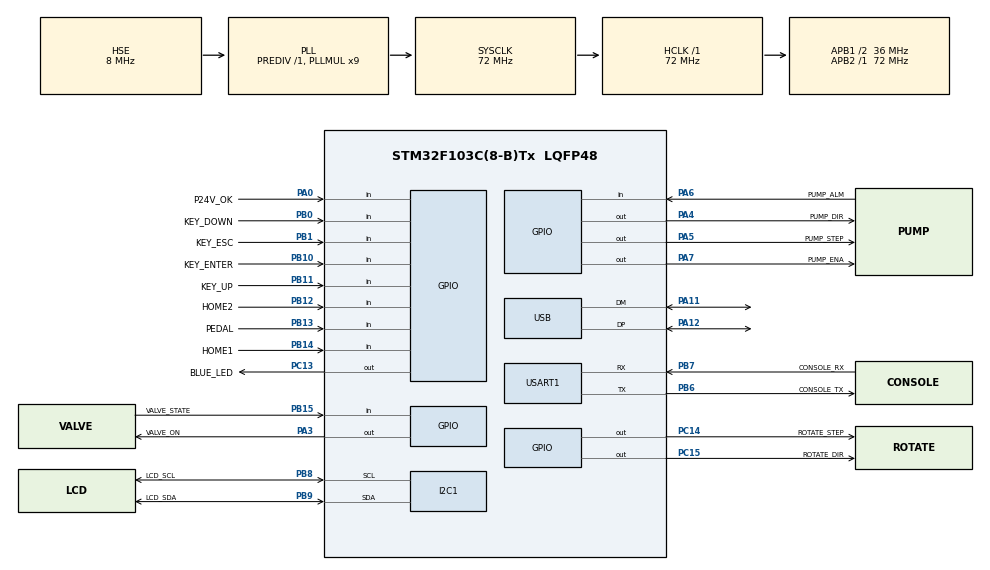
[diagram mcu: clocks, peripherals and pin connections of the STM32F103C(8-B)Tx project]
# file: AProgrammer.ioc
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Mcu.Family=STM32F1
USB_DEVICE.CLASS_NAME_FS=CDC
NVIC.I2C1_EV_IRQn=true\:1\:0\:true\:false\:true\:true\:true
PB10.GPIO_PuPd=GPIO_PULLUP
PB14.GPIO_Label=HOME1
PA11.Mode=Device
PA6.GPIO_Label=PUMP_ALM
PB0.GPIO_Label=KEY_DOWN
PB6.GPIO_Label=CONSOLE_TX
PB11.GPIO_PuPd=GPIO_PULLUP
PB13.GPIO_Label=PEDAL
PB11.Signal=GPIO_Input
PB13.Signal=GPIO_Input
PB15.Signal=GPIO_Input
PC15-OSC32_OUT.GPIO_Label=ROTATE_DIR
RCC.SYSCLKSource=RCC_SYSCLKSOURCE_PLLCLK
ProjectManager.StackSize=0x400
PD1-OSC_OUT.Signal=RCC_OSC_OUT
USB_DEVICE.MANUFACTURER_STRING=AProgrammer
PA12.Signal=USB_DP
USART1.StopBits=STOPBITS_1
PB1.GPIO_PuPd=GPIO_PULLUP
RCC.HCLKFreq_Value=72000000
RCC.APB2TimFreq_Value=72000000
PB6.Signal=USART1_TX
PB6.Mode=Asynchronous
RCC.AHBFreq_Value=72000000
RCC.PLLMUL=RCC_PLL_MUL9
PB12.GPIO_Label=HOME2
PA6.GPIO_PuPd=GPIO_PULLUP
PA14.Mode=Serial_Wire
PB1.GPIO_Label=KEY_ESC
PB7.Signal=USART1_RX
NVIC.I2C1_ER_IRQn=true\:1\:0\:true\:false\:true\:true\:true
PB7.GPIO_Label=CONSOLE_RX
Mcu.Package=LQFP48
PB9.Signal=I2C1_SDA
PB14.GPIO_PuPd=GPIO_PULLUP
PB1.Signal=GPIO_Input
PA6.Signal=GPIO_Input
RCC.APB1TimFreq_Value=72000000
PC14-OSC32_IN.GPIO_Label=ROTATE_STEP
NVIC.USART1_IRQn=true\:1\:0\:true\:false\:true\:true\:true
PA4.GPIO_Label=PUMP_DIR
PA3.Signal=GPIO_Output
RCC.PLLSourceVirtual=RCC_PLLSOURCE_HSE
PD1-OSC_OUT.Mode=HSE-External-Oscillator
PB9.GPIO_Label=LCD_SDA
USB_DEVICE.VirtualModeFS=Cdc_FS
PB11.GPIO_Label=KEY_UP
PC13-TAMPER-RTC.Signal=GPIO_Output
RCC.USBPrescaler=RCC_USBCLKSOURCE_PLL_DIV1_5
PD0-OSC_IN.Signal=RCC_OSC_IN
RCC.APB1CLKDivider=RCC_HCLK_DIV2
PC14-OSC32_IN.Signal=GPIO_Output
PA0-WKUP.GPIO_Label=P24V_OK
PA0-WKUP.Signal=GPIO_Input
PA13.Signal=SYS_JTMS-SWDIO
PB8.GPIO_Label=LCD_SCL
ProjectManager.TargetToolchain=STM32CubeIDE
PB10.GPIO_Label=KEY_ENTER
VP_USB_DEVICE_VS_USB_DEVICE_CDC_FS.Mode=CDC_FS
PB9.Mode=I2C
RCC.USBFreq_Value=48000000
PC15-OSC32_OUT.Signal=GPIO_Output
PD0-OSC_IN.Mode=HSE-External-Oscillator
PB10.Signal=GPIO_Input
PB14.Signal=GPIO_Input
PA5.Signal=GPIO_Output
board=custom
PC13-TAMPER-RTC.GPIO_Label=BLUE_LED
PB13.GPIO_PuPd=GPIO_PULLUP
RCC.APB2Freq_Value=72000000
PB15.GPIO_Label=VALVE_STATE
NVIC.USB_LP_CAN1_RX0_IRQn=true\:0\:0\:false\:false\:true\:false\:true
PA13.Mode=Serial_Wire
Mcu.Name=STM32F103C(8-B)Tx
PA4.Signal=GPIO_Output
RCC.SYSCLKFreq_VALUE=72000000
PA7.GPIO_Label=PUMP_ENA
PA12.Mode=Device
PA5.GPIO_Label=PUMP_STEP
USART1.VirtualMode=VM_ASYNC
PB7.Mode=Asynchronous
PA11.Signal=USB_DM
PA14.Signal=SYS_JTCK-SWCLK
ProjectManager.HeapSize=0x200
NVIC.PriorityGroup=NVIC_PRIORITYGROUP_4
PB8.Mode=I2C
PB8.Signal=I2C1_SCL
PB12.GPIO_PuPd=GPIO_PULLUP
RCC.APB1Freq_Value=36000000
PB0.Signal=GPIO_Input
USB_DEVICE.VirtualMode=Cdc
PB12.Signal=GPIO_Input
PB0.GPIO_PuPd=GPIO_PULLUP
PA3.GPIO_Label=VALVE_ON
PA7.Signal=GPIO_Output

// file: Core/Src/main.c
/* USER CODE BEGIN Header */
/* USER CODE END Header */
#include "main.h"
#include "i2c.h"
#include "usart.h"
#include "usb_device.h"
#include "gpio.h"

/* USER CODE BEGIN Includes */
#include "inc.h"
/* USER CODE END Includes */

/* USER CODE BEGIN PV */
typedef enum {
	CMD_IDLE,
	CMD_GO_HOME,
	CMD_UPDATE_ROTATE_TURNS,
	CMD_MOVE_WITH_ARROWS,
	CMD_START_DOZING,
} USER_CMD_TypeDef;

volatile USER_CMD_TypeDef user_cmd;

#define MOVES_COUNT 5 /* should not be greater than 9 (one digit only) */

int pump_feed [MOVES_COUNT] = { 175,  100, -250 };
int pump_speed[MOVES_COUNT] = { 100,   28,  200 };
int pump_delay[MOVES_COUNT] = {   0,    0,    0 };

int pump_max_length = 30000;
__IO int pump_direction  = 0;
__IO int pump_cmd_timeout;
int pump_manual_speed; // in 0,01mm/sec
int pump_home_speed = 200;
int valve_delay = 1000;

#define PMS_SET_COUNT 2
int pump_manual_speed_set[PMS_SET_COUNT] = { 100, 600 };
int cur_pump_manual_speed = 0;

int rotate_step      =  6; // in turns
int rotate_speed     = 60; // in turns/minute (RPM)
int rotate_turns     =  -1; // in turns
int rotate_direction =  0; // 0 - forward, 1 - reverse

int screen_to_refresh = 0;
int lcd_to_refresh = 0;

int syringe_diam = 20; // in mm

#define SETTINGS_ITEMS_COUNT (sizeof(sett_item) / sizeof(sett_item[0]))

int settings_level   = 0;
int settings_item    = 0;
int settings_changed = 0;

typedef struct {
	char * caption;
	char * unit;
	int *  value;
	int    min;
	int    max;
	int    step;

} SETTINGS_ITEM_Typedef;

const SETTINGS_ITEM_Typedef sett_item[] = {
		// caption        unit       pointer            min  max step
		{ "Syr.diameter", "mm",       &syringe_diam,       1,   100,   1 },
		{ "P.man.speed",  ".01mm/s",  &pump_manual_speed, 10,  2000,  10 },
		{ "P.home speed", ".01mm/s",  &pump_home_speed,   10,  2000,  10 },
};

typedef enum {
	VW_DOZING = 0,
	VW_MANUAL,
	VW_CHANGE,
	VW_SETTINGS,
	VW_LAST
} SCREEN_VIEW_TypeDef;

__IO SCREEN_VIEW_TypeDef screen_view = VW_DOZING;

int tick_10ms = 0;
/* USER CODE END PV */

void SystemClock_Config(void);

/* USER CODE BEGIN 0 */
#include "main_keys.c"
#include "main_console.c"
#include "main_cnc.c"
#include "main_lcd.c"
#include "main_loop.c"

void Setup() {
	Init_CNC();
	Init_Console();
	Init_Keys();
	Init_LCD();

	pump_manual_speed = pump_manual_speed_set[cur_pump_manual_speed];

	screen_to_refresh = 1;
}

#define P2F_CHANGE_STEP 5
#define P2F_CHANGE_MAX  5000
#define P2F_INDEX 2
#define P2F_NAME "p2f "

#define _ADD_CHAR(L,C) do {\
	if (p<LCD_COLS) scr[L][p++] = C;\
	} while(0)

void screen_refresh() {
	int r = 0;
	int p = 0;

	switch (screen_view)
	{
		case VW_DOZING:
		{
			// First row
			my_print_str(scr[r], "DOZING: ", &p, LCD_COLS);

			if (user_cmd == CMD_START_DOZING)
			{
				my_print_str(scr[r], "Dozing..", &p, LCD_COLS);
			}
			else
			{
				my_print_str(scr[r], "Ready", &p, LCD_COLS);
			}
			_ADD_CHAR(r, 0);

			// Second row
			r++;
			p = 0;
			my_print_str(scr[r], P2F_NAME, &p, LCD_COLS);
			my_print_int(scr[r], pump_feed[P2F_INDEX-1], &p, LCD_COLS);
			_ADD_CHAR(r, 0);
			break;
		}

		case VW_MANUAL:
		{
			my_print_str(scr[r], "MANUAL:", &p, LCD_COLS);
			_ADD_CHAR(r, 0);

			r++;
			p = 0;
			my_print_str(scr[r], "Speed ", &p, LCD_COLS);
			my_print_int(scr[r], pump_manual_speed, &p, LCD_COLS);
			_ADD_CHAR(r, 0);
			break;
		}

		case VW_CHANGE:
		{
			my_print_str(scr[r], "CHANGE:", &p, LCD_COLS);

			if (user_cmd == CMD_GO_HOME)
			{
				my_print_str(scr[r], " Homing..", &p, LCD_COLS);
			}
			_ADD_CHAR(r, 0);

			r++;
			p = 0;
			_ADD_CHAR(r, 0);
			break;
		}

		case VW_SETTINGS:
		{
			if (settings_level == 0)
			{
				my_print_int(scr[r], settings_item+1, &p, LCD_COLS);
				_ADD_CHAR(r, ' ');
				my_print_str(scr[r], sett_item[settings_item].caption, &p, LCD_COLS);
				_ADD_CHAR(r, 0);

				r++;
				p = 0;
				my_print_int(scr[r], *(sett_item[settings_item].value), &p, LCD_COLS);
				_ADD_CHAR(r, 0);
			}
			else if (settings_level == 1)
			{

			}
			else while (1);

			break;
		}

		default: while(1); // each view should be implemented
	} // switch (screen_view)

	screen_to_refresh = 0;
	lcd_to_refresh = 1; // refresh display
}

#define KEY_REPEAT_DELAY  100 /* in 10ms, e.g. for 100 delay is 100*10ms = 1000ms */
#define KEY_REPEAT_PERIOD 20  /* in 10ms, e.g. for 100 delay is 100*10ms = 1000ms */

#define _KEY_PRESSED_(KEY)  (key[KEY].down_time == 1)
#define _KEY_DOWN_(KEY)     (key[KEY].state     == 0)
#define _KEY_LONG_DOWN(KEY) (key[KEY].down_time == KEY_REPEAT_DELAY)
#define _KEY_PRESSED_WITH_REPEAT_(KEY) (_KEY_PRESSED_(KEY) || \
             ((key[KEY].down_time > KEY_REPEAT_DELAY) && ((key[KEY].down_time - KEY_REPEAT_DELAY) % KEY_REPEAT_PERIOD == 0)))

int handle_esc_to_change_view()
{
	// Esc key
	if ((_KEY_PRESSED_(KEY_ESC)) && (user_cmd == CMD_IDLE))
	{
		// OnExit Menu event
		if (screen_view == VW_MANUAL)
		{
			// reset manual speed
			cur_pump_manual_speed = 0;
			pump_manual_speed     = pump_manual_speed_set[cur_pump_manual_speed];
		}
		else if (screen_view == VW_SETTINGS)
		{
			if (settings_changed)
			{
				//TODO: save settings

				settings_changed = 0;
			}
		}

		if (screen_view+1 == VW_LAST) screen_view = 0;
		else                          screen_view++;

		// OnEnter Menu event
		if (screen_view == VW_SETTINGS)
		{
			settings_level = 0;
		}

		screen_to_refresh = 1;
		return 1;
	}
	return 0;
}

void handle_key_events()
{
	do
	{
		if (screen_view == VW_DOZING)
		{
			if (handle_esc_to_change_view()) break;

			// PEDAL key
			if (_KEY_PRESSED_(KEY_PEDAL) || _KEY_PRESSED_(KEY_ENTER))
			{
				if (user_cmd == CMD_IDLE)  user_cmd = CMD_START_DOZING;
			}

			else if (_KEY_PRESSED_WITH_REPEAT_(KEY_DOWN))
			{
				pump_feed[P2F_INDEX-1] = (pump_feed[P2F_INDEX-1] > P2F_CHANGE_STEP)  ? pump_feed[P2F_INDEX-1] - P2F_CHANGE_STEP : 0;
				screen_to_refresh = 1;
			}

			else if (_KEY_PRESSED_WITH_REPEAT_(KEY_UP))
			{
				pump_feed[2-1] = (pump_feed[P2F_INDEX-1] + P2F_CHANGE_STEP < P2F_CHANGE_MAX)  ? pump_feed[P2F_INDEX-1] + P2F_CHANGE_STEP : P2F_CHANGE_MAX;
				screen_to_refresh = 1;
			}
		}

		else if (screen_view == VW_MANUAL)
		{
			if (handle_esc_to_change_view()) break;

			// Down/Up (Left/Right) key
			if (_KEY_DOWN_(KEY_DOWN) || _KEY_DOWN_(KEY_UP))
			{
				int desired_direction = _KEY_DOWN_(KEY_DOWN) ? 0 : 1;

				if (user_cmd == CMD_IDLE)
				{
					pump_direction = desired_direction;
					pump_cmd_timeout = 3; // in 10ms, e.g. 3 is equal 3*10ms = 30ms
					user_cmd = CMD_MOVE_WITH_ARROWS;
				}
				else if ((user_cmd == CMD_MOVE_WITH_ARROWS) && (pump_direction == desired_direction)) // if is already moving in desired direction
				{
					// continue moving
					pump_cmd_timeout = 3; // in 10ms, e.g. 3 is equal 3*10ms = 30ms
				}
			}

			else if (_KEY_PRESSED_(KEY_PEDAL) || _KEY_PRESSED_(KEY_ENTER))
			{
				if (user_cmd == CMD_IDLE)
				{
					cur_pump_manual_speed = (cur_pump_manual_speed+1) % PMS_SET_COUNT;
					pump_manual_speed     = pump_manual_speed_set[cur_pump_manual_speed];
					screen_to_refresh = 1;
				}
			}
		}

		else if (screen_view == VW_CHANGE)
		{
			if (handle_esc_to_change_view()) break;

			// Down/Up (Left/Right) key
			if (_KEY_DOWN_(KEY_DOWN) || _KEY_DOWN_(KEY_UP))
			{
				int desired_direction = _KEY_DOWN_(KEY_DOWN) ? 0 : 1;

				if (user_cmd == CMD_IDLE)
				{
					pump_direction = desired_direction;
					pump_cmd_timeout = 3; // in 10ms, e.g. 3 is equal 3*10ms = 30ms
					user_cmd = CMD_MOVE_WITH_ARROWS;
				}
				else if ((user_cmd == CMD_MOVE_WITH_ARROWS) && (pump_direction == desired_direction)) // if is already moving in desired direction
				{
					// continue moving
					pump_cmd_timeout = 3; // in 10ms, e.g. 3 is equal 3*10ms = 30ms
				}
			}

			else if (_KEY_LONG_DOWN(KEY_ENTER))
			{
				if (user_cmd == CMD_IDLE)
				{
					user_cmd = CMD_GO_HOME;
					screen_to_refresh = 1;
				}
			}
		}

		else if (screen_view == VW_SETTINGS)
		{
			if (settings_level == 0) // Settings list
			{
				if (handle_esc_to_change_view()) break;

				if (_KEY_PRESSED_(KEY_ENTER)) // Enter to parameter changing
				{
//					parameter_value = settings.;
					settings_level++;
					screen_to_refresh = 1;
				}
				else if (_KEY_PRESSED_WITH_REPEAT_(KEY_DOWN)) // previous item
				{
					settings_item = (settings_item-1 + SETTINGS_ITEMS_COUNT) % SETTINGS_ITEMS_COUNT;
					screen_to_refresh = 1;
				}

				else if (_KEY_PRESSED_WITH_REPEAT_(KEY_UP)) // next item
				{
					settings_item = (settings_item+1) % SETTINGS_ITEMS_COUNT;
					screen_to_refresh = 1;
				}
			}
			else if (settings_level == 1) // Parameter changing
			{
				if (_KEY_PRESSED_(KEY_ENTER)) // apply parameter changes and exit
				{
					// save parameter
	//				if (parameter_value != settings_item)
					{
						settings_changed = 1;
					}

					settings_level--;
					screen_to_refresh = 1;
				}
			}
		}

	} while(0);
}

void Handle_1ms_Timer() {
	if (++tick_10ms == 10) { // each 10 ms
		tick_10ms = 0;

		handle_key_states();
		handle_key_events();
	}

	if (screen_to_refresh)
		screen_refresh();

	if (lcd_to_refresh)
		lcd_refresh();
}
/* USER CODE END 0 */

int main(void)
{

  /* MCU Configuration--------------------------------------------------------*/

  /* Reset of all peripherals, Initializes the Flash interface and the Systick. */
  HAL_Init();

  /* Configure the system clock */
  SystemClock_Config();

  /* Initialize all configured peripherals */
  MX_GPIO_Init();
  MX_USART1_UART_Init();
  MX_I2C1_Init();
  MX_USB_DEVICE_Init();
  /* USER CODE BEGIN 2 */
  Setup();
  /* USER CODE END 2 */

  /* Infinite loop */
  /* USER CODE BEGIN WHILE */
  while (1) {
	  Loop();
    /* USER CODE END WHILE */

  }
}

void SystemClock_Config(void)
{
  RCC_OscInitTypeDef RCC_OscInitStruct = {0};
  RCC_ClkInitTypeDef RCC_ClkInitStruct = {0};
  RCC_PeriphCLKInitTypeDef PeriphClkInit = {0};

  /** Initializes the RCC Oscillators according to the specified parameters
  * in the RCC_OscInitTypeDef structure.
  */
  RCC_OscInitStruct.OscillatorType = RCC_OSCILLATORTYPE_HSE;
  RCC_OscInitStruct.HSEState = RCC_HSE_ON;
  RCC_OscInitStruct.HSEPredivValue = RCC_HSE_PREDIV_DIV1;
  RCC_OscInitStruct.HSIState = RCC_HSI_ON;
  RCC_OscInitStruct.PLL.PLLState = RCC_PLL_ON;
  RCC_OscInitStruct.PLL.PLLSource = RCC_PLLSOURCE_HSE;
  RCC_OscInitStruct.PLL.PLLMUL = RCC_PLL_MUL9;
  if (HAL_RCC_OscConfig(&RCC_OscInitStruct) != HAL_OK)
  {
    Error_Handler();
  }
  /** Initializes the CPU, AHB and APB buses clocks
  */
  RCC_ClkInitStruct.ClockType = RCC_CLOCKTYPE_HCLK|RCC_CLOCKTYPE_SYSCLK
                              |RCC_CLOCKTYPE_PCLK1|RCC_CLOCKTYPE_PCLK2;
  RCC_ClkInitStruct.SYSCLKSource = RCC_SYSCLKSOURCE_PLLCLK;
  RCC_ClkInitStruct.AHBCLKDivider = RCC_SYSCLK_DIV1;
  RCC_ClkInitStruct.APB1CLKDivider = RCC_HCLK_DIV2;
  RCC_ClkInitStruct.APB2CLKDivider = RCC_HCLK_DIV1;

  if (HAL_RCC_ClockConfig(&RCC_ClkInitStruct, FLASH_LATENCY_2) != HAL_OK)
  {
    Error_Handler();
  }
  PeriphClkInit.PeriphClockSelection = RCC_PERIPHCLK_USB;
  PeriphClkInit.UsbClockSelection = RCC_USBCLKSOURCE_PLL_DIV1_5;
  if (HAL_RCCEx_PeriphCLKConfig(&PeriphClkInit) != HAL_OK)
  {
    Error_Handler();
  }
}

void Error_Handler(void)
{
  __disable_irq();
  while (1)
  {
  }
}

/************************ (C) COPYRIGHT STMicroelectronics *****END OF FILE****/
